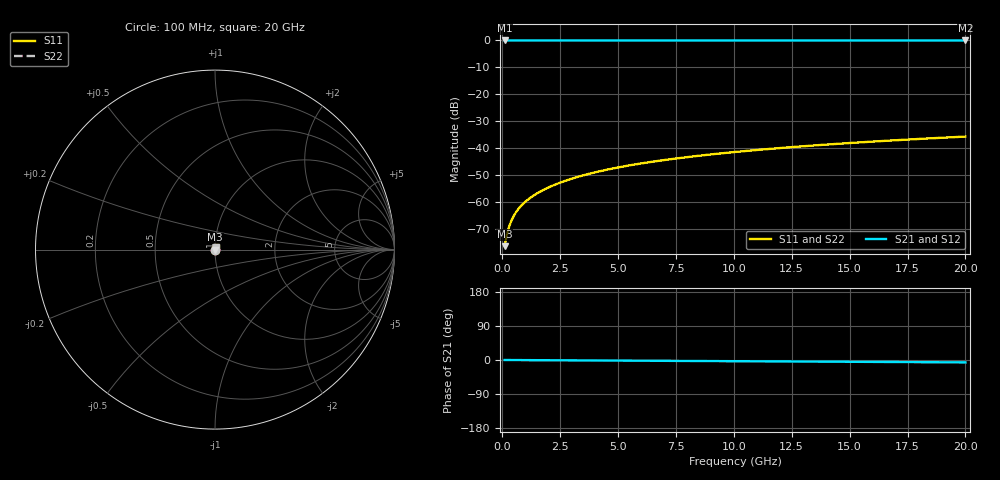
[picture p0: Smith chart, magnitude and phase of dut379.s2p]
! Touchstone file exported from HFSS 2026.1.0
!  File:  C:/ffzhzh/LocalFiles/Ansys_Project_Files/temp_train_TSV_379_1783019758_55676.aedt
!  Generated:  03:17:30 AM Jul  3, 2026
!  Design:  TSV
!  Project:  temp_train_TSV_379_1783019758_55676
! Variables:
!  h_bsmrdl = 2um
!  h_ox = 20um
!  h_rdl = 5um
!  h_sub = 57.98um
!  h_tmrdl = 5um
!  h_tsv = 57.98um
!  h_via = 3um
!  l_bsmrdl = 300um
!  l_sub = 419.66um
!  l_tmrdl = 200um
!  m_sub = 200um
!  pitch = 46.47um
!  r_tsv = 9.83um
!  s_tmrdl = 10um
!  w_bsmrdl = 18um
!  w_sub = 500um
!  w_tmrdl = 12um
!  x_tsv_center1 = 206um
!  x_tsv_center2 = 524um
!  x_tsv_center3 = 736um
!  x_tsv_center4 = 1054um
!  x_tsv_center5 = 1266um
!  x_tsv_center6 = 1584um
# GHz S MA R 50.000000
! Terminal data exported
! Port[1] = TSV1_1_T1
! Port[2] = TSV1_1_T2
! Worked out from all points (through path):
!   200 points, 100 MHz to 20 GHz, reference 50 ohm
!   highest |S21| = 0.00 dB at 100 MHz (marker M1); lowest = 0.0 dB at 20 GHz (marker M2)
!   lowest |S11| = -76.2 dB at 100 MHz (marker M3), VSWR 1.00, Z = 50 + j0.0115 ohm
!   |S11| at or under -10 dB: start of sweep to end of sweep
!   |S22| runs from -76.2 to -35.6 dB; largest |S21 - S12| = 5.6e-15
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0.1  0.0001544 48.3  0.9999 -0.0  0.9999 -0.0  0.0001544 48.3
! Gamma 0 0 0 0
! Port Impedance 50 0 50 0
0.2  0.0002545 63.9  0.9999 -0.1  0.9999 -0.1  0.0002545 63.9
0.3  0.0003607 69.6  0.9999 -0.1  0.9999 -0.1  0.0003607 69.6
0.4  0.0004657 72.2  0.9999 -0.1  0.9999 -0.1  0.0004657 72.2
0.5  0.0005673 73.6  0.9998 -0.2  0.9998 -0.2  0.0005673 73.6
0.6  0.0006655 74.4  0.9998 -0.2  0.9998 -0.2  0.0006655 74.4
0.7  0.0007604 75.0  0.9998 -0.2  0.9998 -0.2  0.0007604 75.0
0.8  0.0008528 75.6  0.9998 -0.3  0.9998 -0.3  0.0008528 75.6
1  0.001032 76.4  0.9998 -0.3  0.9998 -0.3  0.001032 76.4
1.4  0.001379 77.9  0.9997 -0.5  0.9997 -0.5  0.001379 77.9
1.7  0.001637 78.8  0.9997 -0.5  0.9997 -0.5  0.001637 78.8
2  0.001894 79.5  0.9997 -0.6  0.9997 -0.6  0.001894 79.5
2.7  0.002492 80.7  0.9996 -0.9  0.9996 -0.9  0.002492 80.7
3.5  0.003173 81.5  0.9996 -1.1  0.9996 -1.1  0.003173 81.5
4.2  0.003765 81.8  0.9995 -1.3  0.9995 -1.3  0.003765 81.8
5  0.004436 82.0  0.9995 -1.6  0.9995 -1.6  0.004436 82.0
6.8  0.005928 82.3  0.9994 -2.1  0.9994 -2.1  0.005928 82.3
8.3  0.007157 82.2  0.9993 -2.6  0.9993 -2.6  0.007157 82.2
10.1  0.008624 82.1  0.9993 -3.2  0.9993 -3.2  0.008624 82.1
13.4  0.01129 81.7  0.9991 -4.2  0.9991 -4.2  0.01129 81.7
16.7  0.01394 81.0  0.999 -5.2  0.999 -5.2  0.01394 81.0
20  0.01657 80.3  0.9989 -6.3  0.9989 -6.3  0.01657 80.3
